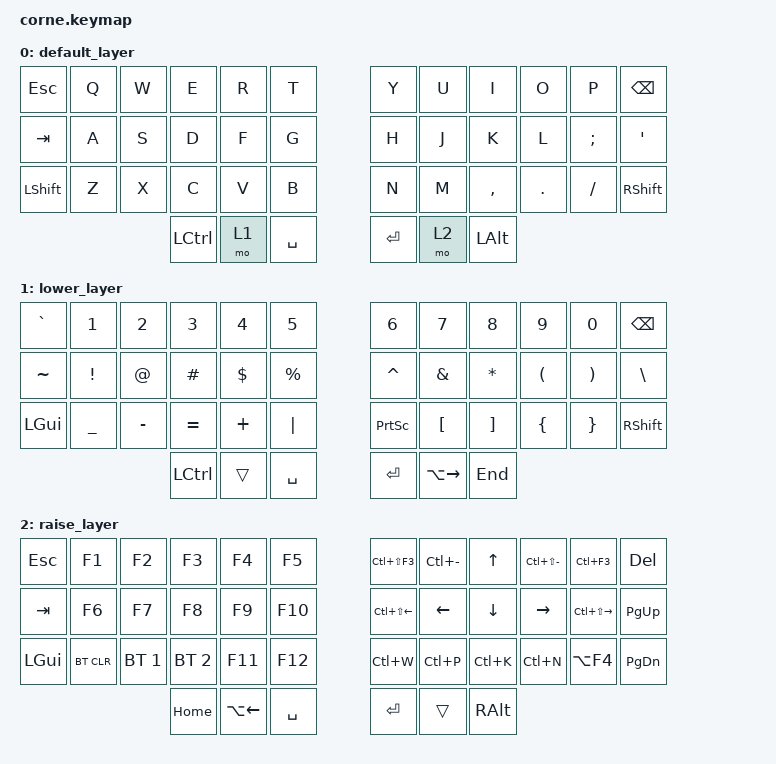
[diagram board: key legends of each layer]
/*
 * Copyright (c) 2020 The ZMK Contributors
 *
 * SPDX-License-Identifier: MIT
 */

#include <behaviors.dtsi>
#include <dt-bindings/zmk/keys.h>
#include <dt-bindings/zmk/bt.h>

/ {
        keymap {
                compatible = "zmk,keymap";

                default_layer {

                        bindings = <
   &kp ESC   &kp Q &kp W &kp E     &kp R &kp T                     &kp Y     &kp U  &kp I     &kp O   &kp P    &kp BSPC
   &kp TAB   &kp A &kp S &kp D     &kp F &kp G                     &kp H     &kp J  &kp K     &kp L   &kp SEMI &kp SQT
   &kp LSHFT &kp Z &kp X &kp C     &kp V &kp B                     &kp N     &kp M  &kp COMMA &kp DOT &kp FSLH &kp RSHFT
                         &kp LCTRL &mo 1 &kp SPACE                 &kp ENTER &mo 2  &kp LALT
                        >;  
                };
                lower_layer { 

                        bindings = <
   &kp GRAVE    &kp N1     &kp N2       &kp N3       &kp N4       &kp N5                       &kp N6    &kp N7        &kp N8       &kp N9     &kp N0   &kp BSPC
   &kp TILDE    &kp EXCL   &kp AT       &kp HASH     &kp DOLLAR   &kp PERCENT                  &kp CARET &kp AMPS      &kp ASTERISK &kp LPAR   &kp RPAR &kp BSLH
   &kp LGUI     &kp UNDER  &kp MINUS    &kp EQUAL    &kp PLUS     &kp PIPE                     &kp PSCRN &kp LBKT      &kp RBKT     &kp LBRC   &kp RBRC &kp RSHFT
                                        &kp LCTRL    &trans       &kp SPACE                    &kp ENTER &kp LA(RIGHT) &kp END
                        >;
                };

                raise_layer {

                        bindings = <
   &kp ESC   &kp F1         &kp F2       &kp F3          &kp F4            &kp F5                     &kp LC(LS(F3))     &kp LC(MINUS)    &kp UP    &kp LC(LS(MINUS))  &kp LC(F3)           &kp DEL
   &kp TAB   &kp F6         &kp F7       &kp F8          &kp F9            &kp F10                    &kp LC(LS(LEFT))   &kp LEFT         &kp DOWN  &kp RIGHT          &kp LC(LS(RIGHT))    &kp PAGE_UP
   &kp LGUI  &bt BT_CLR     &bt BT_SEL 1 &bt BT_SEL 2    &kp F11           &kp F12                    &kp LC(W)          &kp LC(P)        &kp LC(K) &kp LC(N)          &kp LA(F4)           &kp PAGE_DOWN
                    	                   &kp HOME        &kp LA(LEFT)      &kp SPACE                  &kp ENTER          &trans           &kp RALT
                        >;
                };
        };
};
